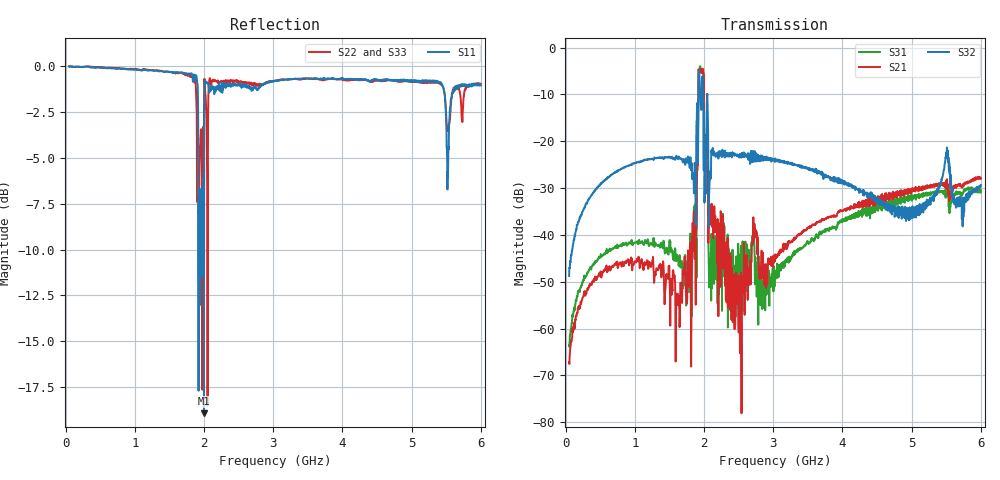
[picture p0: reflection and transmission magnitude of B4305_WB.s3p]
! Matrix data file written by TouchstoneData, EPCOS AG
! FILENAME: "B4305_Pcb01_WB.s3p_newformat"
! COMMENT: "(B4305_Pcb01_WB.s3p) Epcos AG 3/7/2011 2:08:"
! INFO: nport=3, nfreq=1601
! DATE: "Mon Apr 18 16:11:36 2011"
! USER: "Sergey Rostovtsev"
! port | pin | signal
!  1  |  1  |  in
!  2  |  3  |  out
!  3  |  4  |  out
# MHZ S MA R 50
! freq  magS11 angS11  magS12 angS12  magS13 angS13  ...
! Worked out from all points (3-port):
!   1601 points, 50 MHz to 6 GHz, reference 50 ohm
!   strongest paths, dB at 50 MHz, 1.538 GHz, 3.025 GHz, 4.513 GHz, 6 GHz:
!     S32: -48.8, -23.4, -24.4, -33.0, -29.4
!     S21: -67.1, -51.5, -45.6, -31.7, -27.9
!     S31: -63.5, -43.7, -48.2, -34.6, -30.9
!   lowest |S11| = -18.9 dB at 1.999 GHz (marker M1), VSWR 1.26, Z = 62.4 - j2.81 ohm
!   |S11| at or under -10 dB: 1.91799 GHz to 1.923521 GHz (5.531 MHz wide, 0.288 % of centre); 1.937 GHz to 1.95 GHz (12.39 MHz wide, 0.637 % of centre); 1.976703 GHz to 1.984978 GHz (8.275 MHz wide, 0.418 % of centre) (the widest 3 of 4)
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50  0.9965 -3.9  0.0004633 85.8  0.0006735 82.9
    0.0004401 86.0  0.999 -2.6  0.003723 83.0
    0.0006707 87.9  0.003645 83.0  0.999 -2.6
719.375  0.984 -52.0  0.004853 48.8  0.007524 47.9
         0.004884 49.0  0.987 -35.1  0.04683 54.6
         0.007486 47.9  0.04656 54.7  0.9884 -35.2
1619.312  0.9621 -103.6  0.002452 18.2  0.005686 19.3
          0.002356 17.9  0.959 -75.7  0.06567 18.0
          0.005576 19.5  0.06533 18.1  0.9612 -75.5
1883.344  0.944 -147.0  0.01144 89.9  0.007792 165.2
          0.01096 89.7  0.8497 -115.7  0.02272 -175.1
          0.007657 165.1  0.02329 -175.0  0.8445 -114.6
1946.562  0.2528 -2.3  0.5882 -131.9  0.6302 49.4
          0.5894 -131.9  0.6221 -72.2  0.3033 -67.2
          0.6273 49.4  0.3014 -67.3  0.5891 -70.8
1998.625  0.1132 -11.3  0.432 -2.9  0.4363 177.6
          0.4336 -2.7  0.6724 -34.7  0.2077 -27.3
          0.4349 177.7  0.2067 -27.5  0.6609 -35.6
2091.594  0.8535 -88.6  0.02092 18.3  0.005108 146.2
          0.02003 18.1  0.9126 -65.4  0.03983 32.8
          0.00504 146.7  0.03961 33.1  0.917 -65.5
2511.812  0.8881 -114.6  0.002546 170.2  0.005531 50.3
          0.002541 170.4  0.9078 -91.4  0.06724 4.1
          0.005513 50.6  0.06695 4.3  0.9126 -91.6
3025  0.911 -125.8  0.005211 134.4  0.003906 111.3
      0.005229 133.9  0.9133 -103.5  0.06074 -4.1
      0.003873 111.3  0.06029 -3.9  0.9167 -103.3
6000  0.8859 -179.9  0.04019 98.5  0.02853 93.9
      0.04035 98.8  0.8935 -157.1  0.03426 77.7
      0.02845 93.6  0.03401 77.1  0.8994 -158.1
